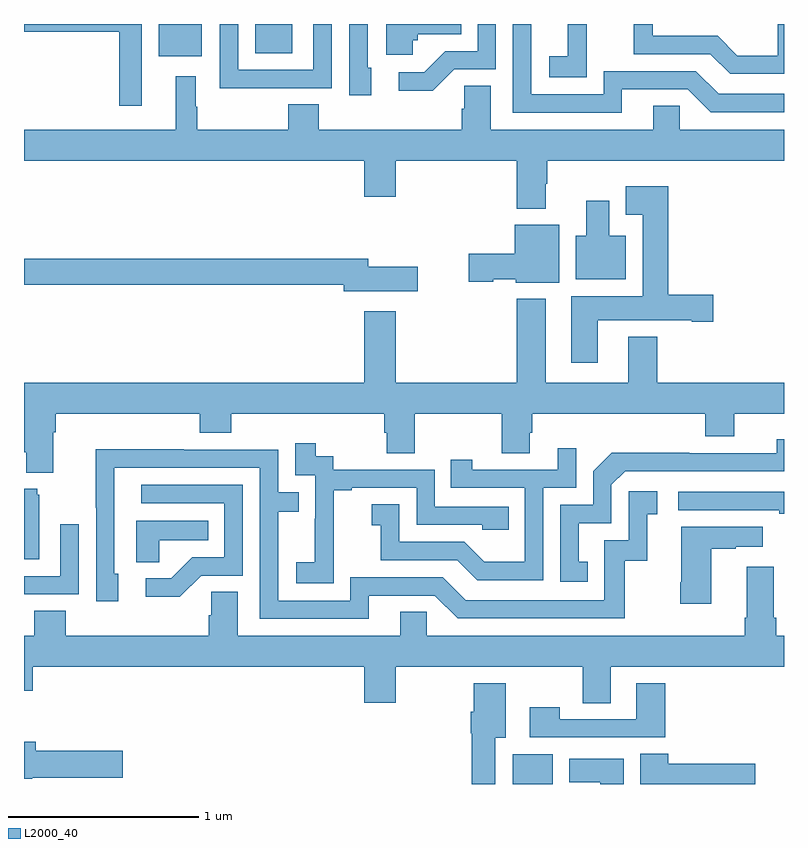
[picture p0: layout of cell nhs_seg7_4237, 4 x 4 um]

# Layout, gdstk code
import gdstk
lib = gdstk.Library(unit=1e-6, precision=1e-09)
def R(c, l, rs):  # rectangles x0, y0, x1, y1
    for r in rs: c.add(gdstk.rectangle(r[:2], r[2:], *l))
def P(c, l, *ps):  # polygons
    for p in ps: c.add(gdstk.Polygon(p, *l))
L2000_40 = (2000, 40)

nhs_seg7_4237 = lib.new_cell('nhs_seg7_4237')
R(nhs_seg7_4237, L2000_40, [(381.572,1000,381.784,1000.156), (379.709,1003.829,379.936,1004), (380.216,1003.847,380.413,1004)])
P(nhs_seg7_4237, L2000_40, [(381.264,1003.761),(381.483,1003.761),(381.483,1004),(381.387,1004),(381.387,1003.857),(381.218,1003.857),(381.107,1003.746),(380.973,1003.746),(380.973,1003.649),(381.151,1003.649)],
  [(379.621,1004),(379,1004),(379,1003.96),(379.5,1003.96),(379.5,1003.569),(379.621,1003.569)],
  [(381.045,1003.914),(381.072,1003.914),(381.072,1003.946),(381.302,1003.946),(381.302,1004),(380.906,1004),(380.906,1003.838),(381.045,1003.838)],
  [(381.963,1003.927),(381.962,1003.927),(381.962,1004),(381.863,1004),(381.863,1003.831),(381.765,1003.831),(381.765,1003.721),(381.963,1003.721)],
  [(383,1004),(382.968,1004),(382.968,1003.834),(382.754,1003.834),(382.65,1003.938),(382.308,1003.938),(382.308,1004),(382.21,1004),(382.21,1003.842),(382.613,1003.842),(382.718,1003.737),(383,1003.737)],
  [(380.827,1003.77),(380.808,1003.77),(380.808,1004),(380.712,1004),(380.712,1003.626),(380.827,1003.626)],
  [(382.147,1003.656),(382.494,1003.656),(382.614,1003.536),(383,1003.536),(383,1003.632),(382.656,1003.632),(382.536,1003.752),(382.05,1003.752),(382.05,1003.629),(381.669,1003.629),(381.669,1004),(381.573,1004),(381.573,1003.533),(382.147,1003.533)],
  [(380.303,1003.662),(380.619,1003.662),(380.619,1004),(380.523,1004),(380.523,1003.758),(380.127,1003.758),(380.127,1004),(380.031,1004),(380.031,1003.661),(380.303,1003.661)],
  [(381.745,1003.16),(381.753,1003.16),(381.753,1003.28),(383,1003.28),(383,1003.444),(382.452,1003.444),(382.452,1003.571),(382.313,1003.571),(382.313,1003.444),(381.457,1003.444),(381.457,1003.676),(381.318,1003.676),(381.318,1003.553),(381.305,1003.553),(381.305,1003.444),(380.552,1003.444),(380.552,1003.577),(380.392,1003.577),(380.392,1003.444),(379.913,1003.444),(379.913,1003.565),(379.903,1003.565),(379.903,1003.726),(379.799,1003.726),(379.799,1003.444),(379,1003.444),(379,1003.28),(380.792,1003.28),(380.792,1003.092),(380.956,1003.092),(380.956,1003.28),(381.593,1003.28),(381.593,1003.028),(381.745,1003.028)],
  [(382.021,1002.44),(382.514,1002.44),(382.514,1002.433),(382.627,1002.433),(382.627,1002.575),(382.391,1002.575),(382.391,1003.147),(382.166,1003.147),(382.166,1002.995),(382.256,1002.995),(382.256,1002.568),(381.881,1002.568),(381.881,1002.216),(382.021,1002.216)],
  [(382.168,1002.886),(382.081,1002.886),(382.081,1003.069),(381.959,1003.069),(381.959,1002.886),(381.905,1002.886),(381.905,1002.656),(382.168,1002.656)],
  [(381.817,1002.943),(381.584,1002.943),(381.584,1002.791),(381.342,1002.791),(381.342,1002.644),(381.471,1002.644),(381.471,1002.656),(381.588,1002.656),(381.588,1002.638),(381.817,1002.638)],
  [(381.073,1002.723),(380.812,1002.723),(380.812,1002.764),(379,1002.764),(379,1002.628),(380.684,1002.628),(380.684,1002.593),(381.073,1002.593)],
  [(379.153,1001.852),(379.166,1001.852),(379.166,1001.948),(379.925,1001.948),(379.925,1001.849),(380.09,1001.849),(380.09,1001.948),(380.897,1001.948),(380.897,1001.85),(380.909,1001.85),(380.909,1001.74),(381.057,1001.74),(381.057,1001.948),(381.514,1001.948),(381.514,1001.74),(381.661,1001.74),(381.661,1001.85),(381.674,1001.85),(381.674,1001.948),(382.586,1001.948),(382.586,1001.831),(382.738,1001.831),(382.738,1001.948),(383,1001.948),(383,1002.112),(382.334,1002.112),(382.334,1002.355),(382.181,1002.355),(382.181,1002.112),(381.745,1002.112),(381.745,1002.553),(381.593,1002.553),(381.593,1002.112),(380.956,1002.112),(380.956,1002.487),(380.792,1002.487),(380.792,1002.112),(379,1002.112),(379,1001.948),(379.001,1001.948),(379.001,1001.746),(379.013,1001.746),(379.013,1001.639),(379.153,1001.639)],
  [(381.968,1001.169),(381.919,1001.169),(381.919,1001.373),(382.092,1001.373),(382.092,1001.574),(382.164,1001.646),(383,1001.646),(383,1001.815),(382.962,1001.815),(382.962,1001.742),(382.502,1001.742),(382.502,1001.744),(382.094,1001.744),(381.996,1001.646),(381.996,1001.469),(381.822,1001.469),(381.822,1001.064),(381.968,1001.064)],
  [(380.631,1001.263),(380.63,1001.263),(380.63,1001.547),(380.725,1001.547),(380.725,1001.559),(381.066,1001.559),(381.066,1001.364),(381.411,1001.364),(381.411,1001.337),(381.551,1001.337),(381.551,1001.46),(381.162,1001.46),(381.162,1001.655),(380.628,1001.655),(380.628,1001.724),(380.536,1001.724),(380.536,1001.794),(380.427,1001.794),(380.427,1001.625),(380.532,1001.625),(380.532,1001.396),(380.531,1001.396),(380.531,1001.167),(380.433,1001.167),(380.433,1001.057),(380.631,1001.057)],
  [(381.732,1001.559),(381.906,1001.559),(381.906,1001.767),(381.809,1001.767),(381.809,1001.655),(381.358,1001.655),(381.358,1001.707),(381.247,1001.707),(381.247,1001.559),(381.636,1001.559),(381.636,1001.17),(381.422,1001.17),(381.318,1001.274),(380.976,1001.274),(380.976,1001.473),(380.829,1001.473),(380.829,1001.363),(380.878,1001.363),(380.878,1001.178),(381.281,1001.178),(381.386,1001.073),(381.732,1001.073)],
  [(380.815,1000.992),(381.162,1000.992),(381.282,1000.872),(382.162,1000.872),(382.162,1001.175),(382.28,1001.175),(382.28,1001.421),(382.333,1001.421),(382.333,1001.542),(382.182,1001.542),(382.182,1001.283),(382.053,1001.283),(382.053,1000.968),(381.324,1000.968),(381.204,1001.088),(380.718,1001.088),(380.718,1000.965),(380.337,1000.965),(380.337,1001.434),(380.447,1001.434),(380.447,1001.535),(380.337,1001.535),(380.337,1001.76),(379.841,1001.76),(379.841,1001.762),(379.378,1001.762),(379.378,1001.455),(379.38,1001.455),(379.38,1000.962),(379.495,1000.962),(379.495,1001.106),(379.476,1001.106),(379.476,1001.664),(380.241,1001.664),(380.241,1000.869),(380.815,1000.869)],
  [(379.932,1001.097),(380.151,1001.097),(380.151,1001.574),(379.617,1001.574),(379.617,1001.478),(380.055,1001.478),(380.055,1001.193),(379.886,1001.193),(379.775,1001.082),(379.641,1001.082),(379.641,1000.985),(379.819,1000.985)],
  [(379.081,1001.523),(379.07,1001.523),(379.07,1001.554),(379,1001.554),(379,1001.183),(379.081,1001.183)],
  [(383,1001.538),(382.443,1001.538),(382.443,1001.442),(382.975,1001.442),(382.975,1001.422),(383,1001.422)],
  [(379.713,1001.282),(379.97,1001.282),(379.97,1001.386),(379.592,1001.386),(379.592,1001.167),(379.713,1001.167)],
  [(379.287,1001.368),(379.191,1001.368),(379.191,1001.094),(379,1001.094),(379,1000.998),(379.287,1000.998)],
  [(382.618,1001.239),(382.745,1001.239),(382.745,1001.249),(382.888,1001.249),(382.888,1001.353),(382.46,1001.353),(382.46,1001.062),(382.453,1001.062),(382.453,1000.95),(382.618,1000.95)],
  [(379,1000.492),(379.046,1000.492),(379.046,1000.616),(380.792,1000.616),(380.792,1000.428),(380.956,1000.428),(380.956,1000.616),(381.94,1000.616),(381.94,1000.426),(382.087,1000.426),(382.087,1000.616),(383,1000.616),(383,1000.78),(382.958,1000.78),(382.958,1000.876),(382.945,1000.876),(382.945,1001.143),(382.805,1001.143),(382.805,1000.876),(382.793,1000.876),(382.793,1000.78),(381.12,1000.78),(381.12,1000.907),(380.981,1000.907),(380.981,1000.78),(380.125,1000.78),(380.125,1001.012),(379.986,1001.012),(379.986,1000.889),(379.973,1000.889),(379.973,1000.78),(379.22,1000.78),(379.22,1000.913),(379.055,1000.913),(379.055,1000.78),(379,1000.78)],
  [(381.481,1000.244),(381.535,1000.244),(381.535,1000.531),(381.368,1000.531),(381.368,1000.38),(381.35,1000.38),(381.35,1000.266),(381.356,1000.266),(381.356,1000),(381.481,1000)],
  [(382.376,1000.531),(382.223,1000.531),(382.223,1000.341),(381.819,1000.341),(381.819,1000.405),(381.663,1000.405),(381.663,1000.245),(382.376,1000.245)],
  [(379.044,1000.034),(379.519,1000.034),(379.519,1000.176),(379.061,1000.176),(379.061,1000.222),(379,1000.222),(379,1000.028),(379.044,1000.028)],
  [(382.849,1000.106),(382.391,1000.106),(382.391,1000.16),(382.244,1000.16),(382.244,1000),(382.849,1000)],
  [(382.156,1000.132),(381.869,1000.132),(381.869,1000.01),(382.034,1000.01),(382.034,1000),(382.156,1000)])

lib.write_gds('nhs_seg7_4237.gds')
